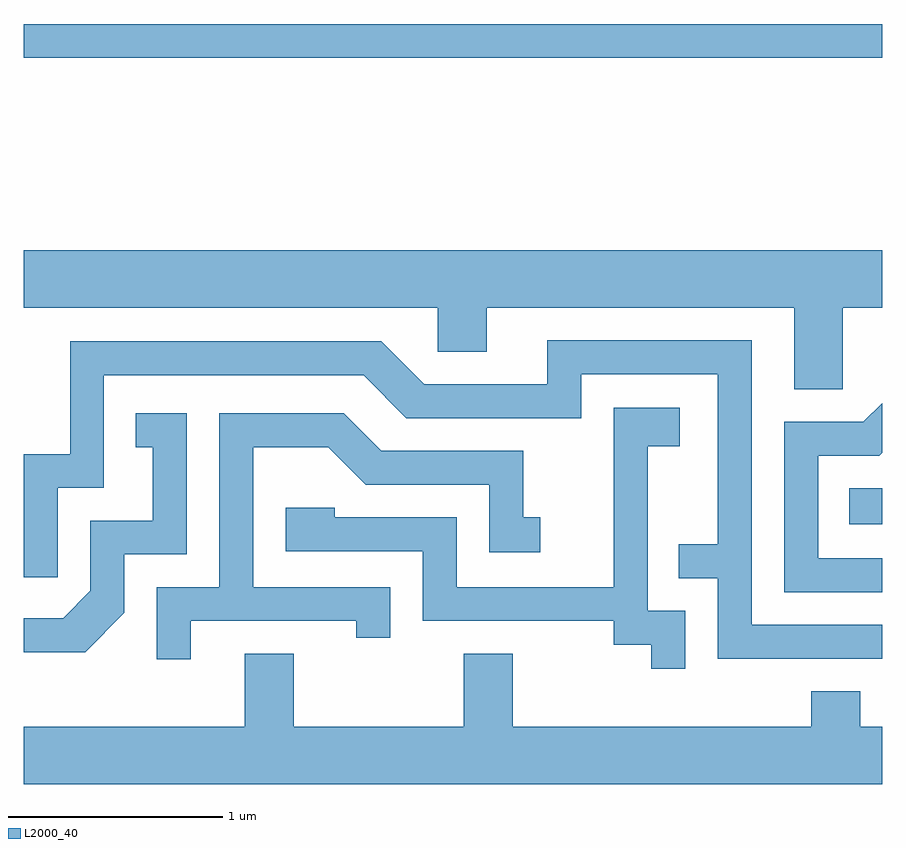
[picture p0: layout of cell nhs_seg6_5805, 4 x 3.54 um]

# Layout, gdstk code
import gdstk
lib = gdstk.Library(unit=1e-6, precision=1e-09)
def R(c, l, rs):  # rectangles x0, y0, x1, y1
    for r in rs: c.add(gdstk.rectangle(r[:2], r[2:], *l))
def P(c, l, *ps):  # polygons
    for p in ps: c.add(gdstk.Polygon(p, *l))
L2000_40 = (2000, 40)

nhs_seg6_5805 = lib.new_cell('nhs_seg6_5805')
R(nhs_seg6_5805, L2000_40, [(365.458,1595.646,365.611,1595.814), (361.611,1597.821,365.611,1597.979)])
P(nhs_seg6_5805, L2000_40, [(365.429,1596.656),(365.611,1596.656),(365.611,1596.924),(361.611,1596.924),(361.611,1596.656),(363.541,1596.656),(363.541,1596.451),(363.769,1596.451),(363.769,1596.656),(365.201,1596.656),(365.201,1596.276),(365.429,1596.276)],
  [(365.611,1595.179),(365.004,1595.179),(365.004,1596.504),(364.051,1596.504),(364.051,1596.299),(363.477,1596.299),(363.277,1596.499),(361.826,1596.499),(361.826,1595.974),(361.611,1595.974),(361.611,1595.401),(361.769,1595.401),(361.769,1595.816),(361.984,1595.816),(361.984,1596.341),(363.194,1596.341),(363.394,1596.141),(364.209,1596.141),(364.209,1596.346),(364.846,1596.346),(364.846,1595.554),(364.663,1595.554),(364.663,1595.396),(364.846,1595.396),(364.846,1595.021),(365.611,1595.021)],
  [(365.611,1595.489),(365.314,1595.489),(365.314,1595.966),(365.597,1595.966),(365.611,1595.98),(365.611,1596.211),(365.524,1596.124),(365.156,1596.124),(365.156,1595.331),(365.611,1595.331)],
  [(364.694,1595.244),(364.519,1595.244),(364.519,1596.011),(364.669,1596.011),(364.669,1596.189),(364.361,1596.189),(364.361,1595.354),(363.629,1595.354),(363.629,1595.679),(363.059,1595.679),(363.059,1595.724),(362.831,1595.724),(362.831,1595.521),(363.471,1595.521),(363.471,1595.196),(364.361,1595.196),(364.361,1595.086),(364.536,1595.086),(364.536,1594.973),(364.694,1594.973)],
  [(362.079,1595.234),(362.079,1595.506),(362.369,1595.506),(362.369,1596.164),(362.133,1596.164),(362.133,1596.006),(362.211,1596.006),(362.211,1595.664),(361.921,1595.664),(361.921,1595.337),(361.794,1595.209),(361.611,1595.209),(361.611,1595.051),(361.897,1595.051)],
  [(362.389,1595.196),(363.161,1595.196),(363.161,1595.118),(363.319,1595.118),(363.319,1595.354),(362.679,1595.354),(362.679,1596.006),(363.029,1596.006),(363.204,1595.831),(363.781,1595.831),(363.781,1595.516),(364.018,1595.516),(364.018,1595.679),(363.939,1595.679),(363.939,1595.989),(363.277,1595.989),(363.102,1596.164),(362.521,1596.164),(362.521,1595.354),(362.231,1595.354),(362.231,1595.018),(362.389,1595.018)],
  [(365.611,1594.704),(365.509,1594.704),(365.509,1594.869),(365.281,1594.869),(365.281,1594.704),(363.889,1594.704),(363.889,1595.044),(363.661,1595.044),(363.661,1594.704),(362.869,1594.704),(362.869,1595.044),(362.641,1595.044),(362.641,1594.704),(361.611,1594.704),(361.611,1594.436),(365.611,1594.436)])

lib.write_gds('nhs_seg6_5805.gds')
